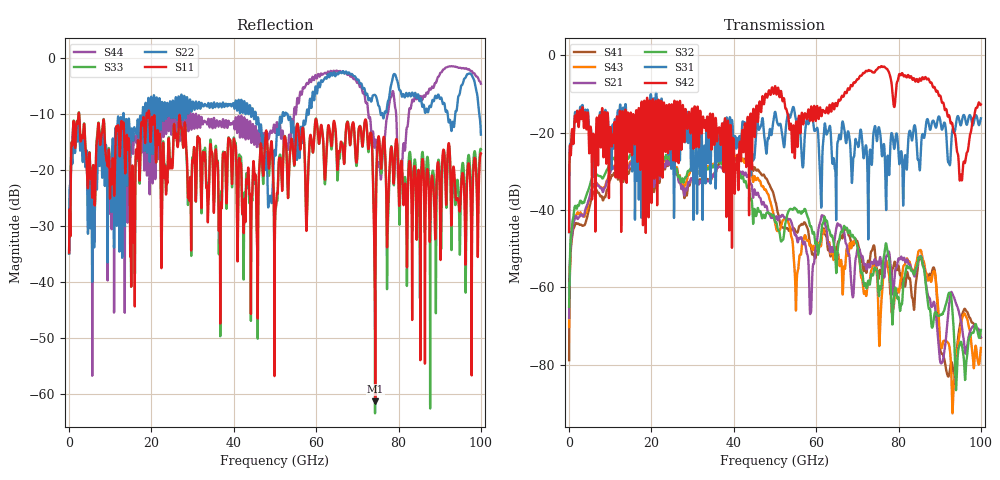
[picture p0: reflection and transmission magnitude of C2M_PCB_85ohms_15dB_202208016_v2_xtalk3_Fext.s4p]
! Info: Touchstone file created by Circ.  Input file=Intel_C2M_200G_4p0in_202208016_staggered.circ
# Hz S RI R 50
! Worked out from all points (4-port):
!   10000 points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, 10 MHz to 100 GHz, reference 50 ohm
!   strongest paths, dB at 10 MHz, 25.01 GHz, 50.01 GHz, 75.01 GHz, 100 GHz:
!     S42: -45.7, -13.0, -7.9, -3.2, -12.7
!     S31: -45.7, -18.9, -14.6, -19.6, -16.2
!     S32: -65.1, -27.5, -43.1, -58.8, -71.0
!     S21: -67.9, -28.0, -42.5, -53.8, -72.9
!     S43: -70.3, -27.0, -43.2, -62.4, -75.7
!     S41: -78.9, -27.7, -37.5, -57.2, -73.0
!   lowest |S11| = -61.2 dB at 74.35 GHz (marker M1), VSWR 1.00, Z = 50.1 - j0.0335 ohm
!   |S11| at or under -10 dB: start of sweep to 2.286 GHz; 2.443 GHz to 18.82 GHz (16.37 GHz wide, 154 % of centre); 19.48 GHz to end of sweep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
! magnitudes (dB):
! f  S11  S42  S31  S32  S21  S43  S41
! 10 MHz  -34.7  -45.7  -45.7  -65.1  -67.9  -70.3  -78.9
! 1.35 GHz  -14.6  -16.2  -15.8  -39.2  -42.3  -41.9  -44.1
! 17.23 GHz  -19.3  -22.8  -18.5  -24.5  -26.1  -25.7  -27.1
! 40.68 GHz  -21.7  -28.9  -23.5  -29.3  -29.1  -26.0  -26.5
! 74.35 GHz  -61.2  -4.1  -18.4  -55.1  -53.2  -54.6  -51.7
! 95.16 GHz  -23.6  -30.9  -18.0  -74.1  -68.5  -69.6  -68.4
! 100 GHz  -16.9  -12.7  -16.2  -71.0  -72.9  -75.7  -73.0
